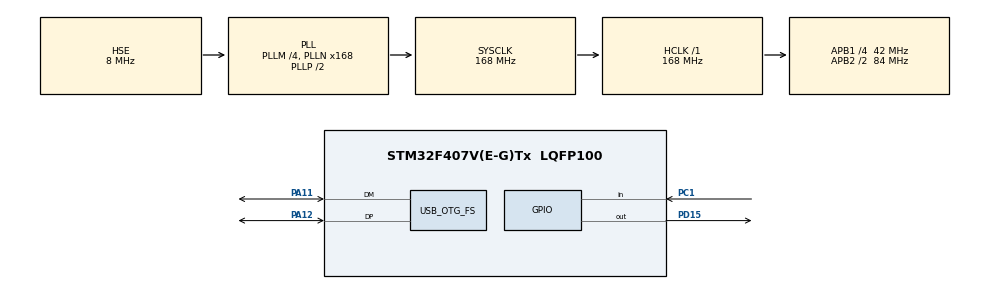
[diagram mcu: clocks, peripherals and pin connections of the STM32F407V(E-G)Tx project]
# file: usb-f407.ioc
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Mcu.Family=STM32F4
Mcu.Name=STM32F407V(E-G)Tx
Mcu.Package=LQFP100
NVIC.OTG_FS_IRQn=true\:0\:0\:false\:false\:true\:false\:true\:true
NVIC.PriorityGroup=NVIC_PRIORITYGROUP_4
PA11.Mode=Device_Only
PA11.Signal=USB_OTG_FS_DM
PA12.Mode=Device_Only
PA12.Signal=USB_OTG_FS_DP
PA13.Mode=Serial_Wire
PA13.Signal=SYS_JTMS-SWDIO
PA14.Mode=Serial_Wire
PA14.Signal=SYS_JTCK-SWCLK
PC1.GPIO_PuPd=GPIO_PULLUP
PC1.Signal=GPIO_Input
PD15.Signal=GPIO_Output
PH0-OSC_IN.Mode=HSE-External-Oscillator
PH0-OSC_IN.Signal=RCC_OSC_IN
PH1-OSC_OUT.Mode=HSE-External-Oscillator
PH1-OSC_OUT.Signal=RCC_OSC_OUT
ProjectManager.HeapSize=0x200
ProjectManager.StackSize=0x400
ProjectManager.TargetToolchain=STM32CubeIDE
RCC.48MHZClocksFreq_Value=48000000
RCC.AHBFreq_Value=168000000
RCC.APB1CLKDivider=RCC_HCLK_DIV4
RCC.APB1Freq_Value=42000000
RCC.APB1TimFreq_Value=84000000
RCC.APB2CLKDivider=RCC_HCLK_DIV2
RCC.APB2Freq_Value=84000000
RCC.APB2TimFreq_Value=168000000
RCC.CortexFreq_Value=168000000
RCC.HCLKFreq_Value=168000000
RCC.HSE_VALUE=8000000
RCC.HSI_VALUE=16000000
RCC.LSE_VALUE=32768
RCC.PLLM=4
RCC.PLLN=168
RCC.PLLQ=7
RCC.SYSCLKFreq_VALUE=168000000
RCC.SYSCLKSource=RCC_SYSCLKSOURCE_PLLCLK
RCC.VCOOutputFreq_Value=336000000
USB_DEVICE.CLASS_NAME_FS=CDC
USB_DEVICE.CONFIGURATION_STRING_CDC_FS=Linux-Kernel
USB_DEVICE.INTERFACE_STRING_CDC_FS=Mechatronics
USB_DEVICE.MANUFACTURER_STRING-CDC_FS=DinhHuuNam
USB_DEVICE.PID_CDC_FS=0x2002
USB_DEVICE.PRODUCT_STRING_CDC_FS=dinhnamuet
USB_DEVICE.VID-CDC_FS=0x1979
USB_DEVICE.VirtualMode-CDC_FS=Cdc
USB_DEVICE.VirtualModeFS=Cdc_FS
USB_OTG_FS.VirtualMode=Device_Only
VP_USB_DEVICE_VS_USB_DEVICE_CDC_FS.Mode=CDC_FS
board=custom

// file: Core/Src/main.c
/* USER CODE BEGIN Header */
/**
 ******************************************************************************
 * @file           : main.c
 * @brief          : Main program body
 ******************************************************************************
 * @attention
 *
 * Copyright (c) 2024 STMicroelectronics.
 * All rights reserved.
 *
 * This software is licensed under terms that can be found in the LICENSE file
 * in the root directory of this software component.
 * If no LICENSE file comes with this software, it is provided AS-IS.
 *
 ******************************************************************************
 */
/* USER CODE END Header */
#include "main.h"
#include "usb_device.h"

/* USER CODE BEGIN Includes */
#include "task_list.h"
#include "usb_handle.h"
#include "led_bootloader.h"
#include "bootloader.h"
/* USER CODE END Includes */

/* USER CODE BEGIN PD */
#define BOOT_OPER
/* USER CODE END PD */

/* USER CODE BEGIN PV */
u16 adc_val = 0x00;
struct task_queue usb_queue;
static struct led boot_indicator = {
		.port				= GPIOD,
		.pin				= GPIO_PIN_15,
		.counter			= 0,
		.blynk_period_ms	= 200,
};
static struct boot_button button = {
		.port	= GPIOC,
		.pin	= GPIO_PIN_1,
};
/* USER CODE END PV */

void SystemClock_Config(void);
static void MX_GPIO_Init(void);

/* USER CODE BEGIN 0 */
void HAL_IncTick(void) {
	uwTick += uwTickFreq;
	led_increase_counter(&boot_indicator);
}
/* USER CODE END 0 */

int main(void)
{

	/* MCU Configuration--------------------------------------------------------*/

	/* Reset of all peripherals, Initializes the Flash interface and the Systick. */
	HAL_Init();

	/* Configure the system clock */
	SystemClock_Config();

	/* Initialize all configured peripherals */
	MX_GPIO_Init();
	MX_USB_DEVICE_Init();
	/* USER CODE BEGIN 2 */
#if defined(BOOT_OPER)
	/* Hardware Boot Option */
	start_boot_checking(&button);
#endif
	/* USB Queue Initialization */
	if (init_queue(&usb_queue, 10) < 0) {
		return -1;
	}
	/* USER CODE END 2 */

	/* Infinite loop */
	while (1)
	{

		/* USER CODE BEGIN 3 */
		if (!queue_is_empty(&usb_queue)) {
			usb_handle_packet(get_new_task(&usb_queue));
		}
		led_ctrl(&boot_indicator);
	}
	/* USER CODE END 3 */
}

void SystemClock_Config(void)
{
	RCC_OscInitTypeDef RCC_OscInitStruct = {0};
	RCC_ClkInitTypeDef RCC_ClkInitStruct = {0};

	/** Configure the main internal regulator output voltage
	 */
	__HAL_RCC_PWR_CLK_ENABLE();
	__HAL_PWR_VOLTAGESCALING_CONFIG(PWR_REGULATOR_VOLTAGE_SCALE1);

	/** Initializes the RCC Oscillators according to the specified parameters
	 * in the RCC_OscInitTypeDef structure.
	 */
	RCC_OscInitStruct.OscillatorType = RCC_OSCILLATORTYPE_HSE;
	RCC_OscInitStruct.HSEState = RCC_HSE_ON;
	RCC_OscInitStruct.PLL.PLLState = RCC_PLL_ON;
	RCC_OscInitStruct.PLL.PLLSource = RCC_PLLSOURCE_HSE;
	RCC_OscInitStruct.PLL.PLLM = 4;
	RCC_OscInitStruct.PLL.PLLN = 168;
	RCC_OscInitStruct.PLL.PLLP = RCC_PLLP_DIV2;
	RCC_OscInitStruct.PLL.PLLQ = 7;
	if (HAL_RCC_OscConfig(&RCC_OscInitStruct) != HAL_OK)
	{
		Error_Handler();
	}

	/** Initializes the CPU, AHB and APB buses clocks
	 */
	RCC_ClkInitStruct.ClockType = RCC_CLOCKTYPE_HCLK|RCC_CLOCKTYPE_SYSCLK
			|RCC_CLOCKTYPE_PCLK1|RCC_CLOCKTYPE_PCLK2;
	RCC_ClkInitStruct.SYSCLKSource = RCC_SYSCLKSOURCE_PLLCLK;
	RCC_ClkInitStruct.AHBCLKDivider = RCC_SYSCLK_DIV1;
	RCC_ClkInitStruct.APB1CLKDivider = RCC_HCLK_DIV4;
	RCC_ClkInitStruct.APB2CLKDivider = RCC_HCLK_DIV2;

	if (HAL_RCC_ClockConfig(&RCC_ClkInitStruct, FLASH_LATENCY_5) != HAL_OK)
	{
		Error_Handler();
	}
}

static void MX_GPIO_Init(void)
{
	GPIO_InitTypeDef GPIO_InitStruct = {0};

	/* GPIO Ports Clock Enable */
	__HAL_RCC_GPIOH_CLK_ENABLE();
	__HAL_RCC_GPIOC_CLK_ENABLE();
	__HAL_RCC_GPIOD_CLK_ENABLE();
	__HAL_RCC_GPIOA_CLK_ENABLE();

	/*Configure GPIO pin Output Level */
	HAL_GPIO_WritePin(GPIOD, GPIO_PIN_15, GPIO_PIN_RESET);

	/*Configure GPIO pin : PC1 */
	GPIO_InitStruct.Pin = GPIO_PIN_1;
	GPIO_InitStruct.Mode = GPIO_MODE_INPUT;
	GPIO_InitStruct.Pull = GPIO_PULLUP;
	HAL_GPIO_Init(GPIOC, &GPIO_InitStruct);

	/*Configure GPIO pin : PD15 */
	GPIO_InitStruct.Pin = GPIO_PIN_15;
	GPIO_InitStruct.Mode = GPIO_MODE_OUTPUT_PP;
	GPIO_InitStruct.Pull = GPIO_NOPULL;
	GPIO_InitStruct.Speed = GPIO_SPEED_FREQ_LOW;
	HAL_GPIO_Init(GPIOD, &GPIO_InitStruct);

}

void Error_Handler(void)
{
	__disable_irq();
	while (1)
	{
	}
}
